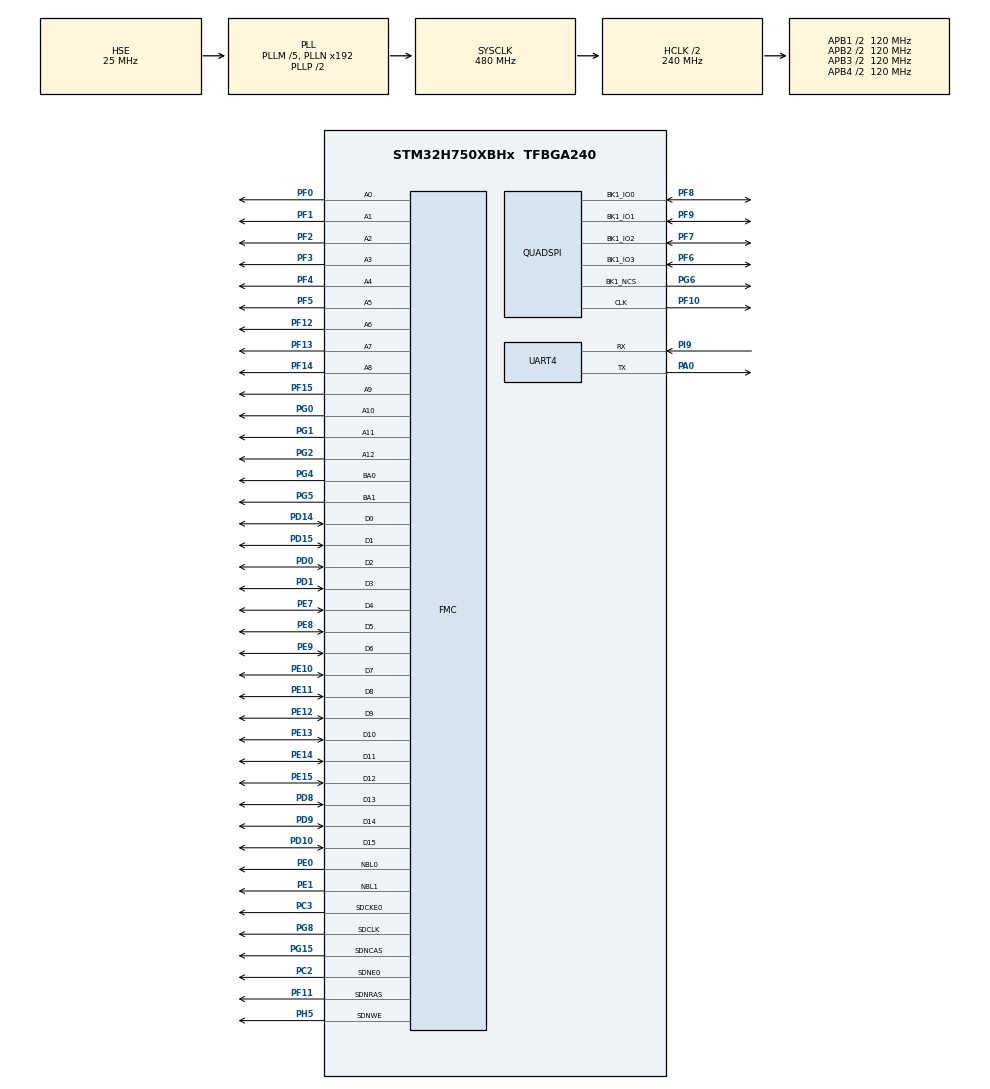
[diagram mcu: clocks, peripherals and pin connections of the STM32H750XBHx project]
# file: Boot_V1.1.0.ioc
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FMC.CASLatency1=FMC_SDRAM_CAS_LATENCY_2
FMC.ColumnBitsNumber1=FMC_SDRAM_COLUMN_BITS_NUM_9
FMC.ExitSelfRefreshDelay1=8
FMC.LoadToActiveDelay1=2
FMC.RCDDelay1=2
FMC.RPDelay1=2
FMC.ReadBurst1=FMC_SDRAM_RBURST_DISABLE
FMC.ReadPipeDelay1=FMC_SDRAM_RPIPE_DELAY_0
FMC.RowCycleDelay1=6
FMC.SDClockPeriod1=FMC_SDRAM_CLOCK_PERIOD_2
FMC.SelfRefreshTime1=6
FMC.WriteRecoveryTime1=16
Mcu.Family=STM32H7
Mcu.Name=STM32H750XBHx
Mcu.Package=TFBGA240
NVIC.FMC_IRQn=true\:0\:0\:false\:false\:true\:true\:true\:true
NVIC.PriorityGroup=NVIC_PRIORITYGROUP_4
PA0.Mode=Asynchronous
PA0.Signal=UART4_TX
PA13\ (JTMS/SWDIO).Mode=Serial_Wire
PA13\ (JTMS/SWDIO).Signal=DEBUG_JTMS-SWDIO
PA14\ (JTCK/SWCLK).Mode=Serial_Wire
PA14\ (JTCK/SWCLK).Signal=DEBUG_JTCK-SWCLK
PC14-OSC32_IN\ (OSC32_IN).Mode=LSE-External-Oscillator
PC14-OSC32_IN\ (OSC32_IN).Signal=RCC_OSC32_IN
PC15-OSC32_OUT\ (OSC32_OUT).Mode=LSE-External-Oscillator
PC15-OSC32_OUT\ (OSC32_OUT).Signal=RCC_OSC32_OUT
PC2.Mode=SdramChipSelect1_1
PC2.Signal=FMC_SDNE0
PC3.Mode=SdramChipSelect1_1
PC3.Signal=FMC_SDCKE0
PD0.Signal=FMC_D2_DA2
PD1.Signal=FMC_D3_DA3
PD10.Signal=FMC_D15_DA15
PD14.Signal=FMC_D0_DA0
PD15.Signal=FMC_D1_DA1
PD8.Signal=FMC_D13_DA13
PD9.Signal=FMC_D14_DA14
PE0.Signal=FMC_NBL0
PE1.Signal=FMC_NBL1
PE10.Signal=FMC_D7_DA7
PE11.Signal=FMC_D8_DA8
PE12.Signal=FMC_D9_DA9
PE13.Signal=FMC_D10_DA10
PE14.Signal=FMC_D11_DA11
PE15.Signal=FMC_D12_DA12
PE7.Signal=FMC_D4_DA4
PE8.Signal=FMC_D5_DA5
PE9.Signal=FMC_D6_DA6
PF0.Signal=FMC_A0
PF1.Signal=FMC_A1
PF10.GPIO_PuPd=GPIO_NOPULL
PF10.GPIO_Speed=GPIO_SPEED_FREQ_VERY_HIGH
PF10.Mode=Single Bank 1
PF10.Signal=QUADSPI_CLK
PF11.Signal=FMC_SDNRAS
PF12.Signal=FMC_A6
PF13.Signal=FMC_A7
PF14.Signal=FMC_A8
PF15.Signal=FMC_A9
PF2.Signal=FMC_A2
PF3.Signal=FMC_A3
PF4.Signal=FMC_A4
PF5.Signal=FMC_A5
PF6.GPIO_PuPd=GPIO_NOPULL
PF6.GPIO_Speed=GPIO_SPEED_FREQ_VERY_HIGH
PF6.Mode=Single Bank 1
PF6.Signal=QUADSPI_BK1_IO3
PF7.GPIO_PuPd=GPIO_NOPULL
PF7.GPIO_Speed=GPIO_SPEED_FREQ_VERY_HIGH
PF7.Mode=Single Bank 1
PF7.Signal=QUADSPI_BK1_IO2
PF8.GPIO_PuPd=GPIO_NOPULL
PF8.GPIO_Speed=GPIO_SPEED_FREQ_VERY_HIGH
PF8.Mode=Single Bank 1
PF8.Signal=QUADSPI_BK1_IO0
PF9.GPIO_PuPd=GPIO_NOPULL
PF9.GPIO_Speed=GPIO_SPEED_FREQ_VERY_HIGH
PF9.Mode=Single Bank 1
PF9.Signal=QUADSPI_BK1_IO1
PG0.Signal=FMC_A10
PG1.Signal=FMC_A11
PG15.Signal=FMC_SDNCAS
PG2.Signal=FMC_A12
PG4.Signal=FMC_A14_BA0
PG5.Signal=FMC_A15_BA1
PG6.GPIO_PuPd=GPIO_NOPULL
PG6.GPIO_Speed=GPIO_SPEED_FREQ_VERY_HIGH
PG6.Mode=Single Bank 1
PG6.Signal=QUADSPI_BK1_NCS
PG8.Signal=FMC_SDCLK
PH0-OSC_IN\ (PH0).Mode=HSE-External-Oscillator
PH0-OSC_IN\ (PH0).Signal=RCC_OSC_IN
PH1-OSC_OUT\ (PH1).Mode=HSE-External-Oscillator
PH1-OSC_OUT\ (PH1).Signal=RCC_OSC_OUT
PH5.Signal=FMC_SDNWE
PI9.Mode=Asynchronous
PI9.Signal=UART4_RX
ProjectManager.HeapSize=0x400
ProjectManager.StackSize=0x400
ProjectManager.TargetToolchain=Makefile
QUADSPI.ChipSelectHighTime=QSPI_CS_HIGH_TIME_6_CYCLE
QUADSPI.ClockPrescaler=1
QUADSPI.FifoThreshold=32
QUADSPI.FlashSize=24
QUADSPI.SampleShifting=QSPI_SAMPLE_SHIFTING_HALFCYCLE
RCC.ADCFreq_Value=109375000
RCC.APB1Freq_Value=120000000
RCC.APB2Freq_Value=120000000
RCC.APB3Freq_Value=120000000
RCC.APB4Freq_Value=120000000
RCC.CortexFreq_Value=480000000
RCC.D1PPRE=RCC_APB3_DIV2
RCC.D2PPRE1=RCC_APB1_DIV2
RCC.D2PPRE2=RCC_APB2_DIV2
RCC.D3PPRE=RCC_APB4_DIV2
RCC.DIVM1=5
RCC.DIVM2=4
RCC.DIVN1=192
RCC.DIVN2=35
RCC.DIVQ1=4
RCC.HCLKFreq_Value=240000000
RCC.HPRE=RCC_HCLK_DIV2
RCC.PLL2FRACN=0
RCC.PLL3FRACN=0
RCC.PLLFRACN=0
RCC.PLLSourceVirtual=RCC_PLLSOURCE_HSE
RCC.PWR_Regulator_Voltage_Scale=PWR_REGULATOR_VOLTAGE_SCALE0
RCC.ProductRev=revV
RCC.SYSCLKFreq_VALUE=480000000
RCC.SYSCLKSource=RCC_SYSCLKSOURCE_PLLCLK
RCC.SupplySource=PWR_LDO_SUPPLY
RCC.USBFreq_Value=240000000
SH.FMC_A0.0=FMC_A0,13b-sda1
SH.FMC_A1.0=FMC_A1,13b-sda1
SH.FMC_A10.0=FMC_A10,13b-sda1
SH.FMC_A11.0=FMC_A11,13b-sda1
SH.FMC_A12.0=FMC_A12,13b-sda1
SH.FMC_A14_BA0.0=FMC_BA0,FourSdramBanks1
SH.FMC_A15_BA1.0=FMC_BA1,FourSdramBanks1
SH.FMC_A2.0=FMC_A2,13b-sda1
SH.FMC_A3.0=FMC_A3,13b-sda1
SH.FMC_A4.0=FMC_A4,13b-sda1
SH.FMC_A5.0=FMC_A5,13b-sda1
SH.FMC_A6.0=FMC_A6,13b-sda1
SH.FMC_A7.0=FMC_A7,13b-sda1
SH.FMC_A8.0=FMC_A8,13b-sda1
SH.FMC_A9.0=FMC_A9,13b-sda1
SH.FMC_D0_DA0.0=FMC_D0,sd-16b-d1
SH.FMC_D10_DA10.0=FMC_D10,sd-16b-d1
SH.FMC_D11_DA11.0=FMC_D11,sd-16b-d1
SH.FMC_D12_DA12.0=FMC_D12,sd-16b-d1
SH.FMC_D13_DA13.0=FMC_D13,sd-16b-d1
SH.FMC_D14_DA14.0=FMC_D14,sd-16b-d1
SH.FMC_D15_DA15.0=FMC_D15,sd-16b-d1
SH.FMC_D1_DA1.0=FMC_D1,sd-16b-d1
SH.FMC_D2_DA2.0=FMC_D2,sd-16b-d1
SH.FMC_D3_DA3.0=FMC_D3,sd-16b-d1
SH.FMC_D4_DA4.0=FMC_D4,sd-16b-d1
SH.FMC_D5_DA5.0=FMC_D5,sd-16b-d1
SH.FMC_D6_DA6.0=FMC_D6,sd-16b-d1
SH.FMC_D7_DA7.0=FMC_D7,sd-16b-d1
SH.FMC_D8_DA8.0=FMC_D8,sd-16b-d1
SH.FMC_D9_DA9.0=FMC_D9,sd-16b-d1
SH.FMC_NBL0.0=FMC_NBL0,Sd2ByteEnable1
SH.FMC_NBL1.0=FMC_NBL1,Sd2ByteEnable1
SH.FMC_SDCLK.0=FMC_SDCLK,13b-sda1
SH.FMC_SDNCAS.0=FMC_SDNCAS,13b-sda1
SH.FMC_SDNRAS.0=FMC_SDNRAS,13b-sda1
SH.FMC_SDNWE.0=FMC_SDNWE,13b-sda1
board=custom

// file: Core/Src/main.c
/* USER CODE BEGIN Header */
/**
  ******************************************************************************
  * @file           : main.c
  * @brief          : Main program body
  ******************************************************************************
  * @attention
  *
  * Copyright (c) 2023 STMicroelectronics.
  * All rights reserved.
  *
  * This software is licensed under terms that can be found in the LICENSE file
  * in the root directory of this software component.
  * If no LICENSE file comes with this software, it is provided AS-IS.
  *
  ******************************************************************************
  */
/* USER CODE END Header */
#include "main.h"
#include "quadspi.h"
#include "usart.h"
#include "gpio.h"
#include "fmc.h"

/* USER CODE BEGIN Includes */
#include "flash.h"
#include <stdio.h>
#include <string.h>

int _write(int fd, char *ch, int len)
{
    HAL_UART_Transmit(&huart4, (uint8_t*)ch, len, 0xFFFF);
    return len;
}

/* USER CODE END Includes */

void SystemClock_Config(void);

/* USER CODE BEGIN 0 */
typedef void (*pFunction)(void);		// a point-to-function type
static void JumpToApp(void)
{
    uint32_t app_ddr = QSPI_BASE;
    pFunction JumpApp = (pFunction)(*(__IO uint32_t *)(app_ddr + 4));

    /* close and reset Systick */
    SysTick->CTRL = 0;					// disable systick
    SysTick->LOAD = 0;					// clear loaded value
    SysTick->VAL = 0;					// clear current systick value

    /* clear all NVIC Enable and Pending registers */
    for(uint8_t i = 0; i < 8; i++)
    {
        NVIC->ICER[i] = 0xFFFFFFFF;
        NVIC->ICPR[i] = 0xFFFFFFFF;
    }

    /* priviage mode */
    __set_CONTROL(0);

    /* disable global interrupt */
    __disable_irq();

    /* blocks all interrupts apart from the non-maskable interrupt (NMI) and the hard fault exception */
    __set_PRIMASK(1);

    __set_MSP(app_ddr);

    JumpApp();
}
/* USER CODE END 0 */

int main(void)
{

  /* MCU Configuration--------------------------------------------------------*/

  /* Reset of all peripherals, Initializes the Flash interface and the Systick. */
  HAL_Init();

  /* Configure the system clock */
  SystemClock_Config();

  /* Initialize all configured peripherals */
  MX_GPIO_Init();
  MX_UART4_Init();
  MX_FMC_Init();
  MX_QUADSPI_Init();
  /* USER CODE BEGIN 2 */
  SDRAM_Initialization_Sequence();
//    bsp_TestExtSDRAM();
    memset((uint32_t*)(0xC0000000),0xff,16*1024*1024);

  /* USER CODE END 2 */

  /* Infinite loop */
  /* USER CODE BEGIN WHILE */
    W25QXX_Init();
    W25Q_Memory_Mapped_Enable();
    JumpToApp();
    while (1)
  {
      printf("error jump\r\n");
    /* USER CODE END WHILE */

  }
}

void SystemClock_Config(void)
{
  RCC_OscInitTypeDef RCC_OscInitStruct = {0};
  RCC_ClkInitTypeDef RCC_ClkInitStruct = {0};

  /** Supply configuration update enable
  */
  HAL_PWREx_ConfigSupply(PWR_LDO_SUPPLY);

  /** Configure the main internal regulator output voltage
  */
  __HAL_PWR_VOLTAGESCALING_CONFIG(PWR_REGULATOR_VOLTAGE_SCALE1);

  while(!__HAL_PWR_GET_FLAG(PWR_FLAG_VOSRDY)) {}

  __HAL_RCC_SYSCFG_CLK_ENABLE();
  __HAL_PWR_VOLTAGESCALING_CONFIG(PWR_REGULATOR_VOLTAGE_SCALE0);

  while(!__HAL_PWR_GET_FLAG(PWR_FLAG_VOSRDY)) {}

  /** Initializes the RCC Oscillators according to the specified parameters
  * in the RCC_OscInitTypeDef structure.
  */
  RCC_OscInitStruct.OscillatorType = RCC_OSCILLATORTYPE_HSE;
  RCC_OscInitStruct.HSEState = RCC_HSE_ON;
  RCC_OscInitStruct.PLL.PLLState = RCC_PLL_ON;
  RCC_OscInitStruct.PLL.PLLSource = RCC_PLLSOURCE_HSE;
  RCC_OscInitStruct.PLL.PLLM = 5;
  RCC_OscInitStruct.PLL.PLLN = 192;
  RCC_OscInitStruct.PLL.PLLP = 2;
  RCC_OscInitStruct.PLL.PLLQ = 4;
  RCC_OscInitStruct.PLL.PLLR = 2;
  RCC_OscInitStruct.PLL.PLLRGE = RCC_PLL1VCIRANGE_2;
  RCC_OscInitStruct.PLL.PLLVCOSEL = RCC_PLL1VCOWIDE;
  RCC_OscInitStruct.PLL.PLLFRACN = 0;
  if (HAL_RCC_OscConfig(&RCC_OscInitStruct) != HAL_OK)
  {
    Error_Handler();
  }

  /** Initializes the CPU, AHB and APB buses clocks
  */
  RCC_ClkInitStruct.ClockType = RCC_CLOCKTYPE_HCLK|RCC_CLOCKTYPE_SYSCLK
                              |RCC_CLOCKTYPE_PCLK1|RCC_CLOCKTYPE_PCLK2
                              |RCC_CLOCKTYPE_D3PCLK1|RCC_CLOCKTYPE_D1PCLK1;
  RCC_ClkInitStruct.SYSCLKSource = RCC_SYSCLKSOURCE_PLLCLK;
  RCC_ClkInitStruct.SYSCLKDivider = RCC_SYSCLK_DIV1;
  RCC_ClkInitStruct.AHBCLKDivider = RCC_HCLK_DIV2;
  RCC_ClkInitStruct.APB3CLKDivider = RCC_APB3_DIV2;
  RCC_ClkInitStruct.APB1CLKDivider = RCC_APB1_DIV2;
  RCC_ClkInitStruct.APB2CLKDivider = RCC_APB2_DIV2;
  RCC_ClkInitStruct.APB4CLKDivider = RCC_APB4_DIV2;

  if (HAL_RCC_ClockConfig(&RCC_ClkInitStruct, FLASH_LATENCY_4) != HAL_OK)
  {
    Error_Handler();
  }
}

void Error_Handler(void)
{
  __disable_irq();
  while (1)
  {
  }
}
